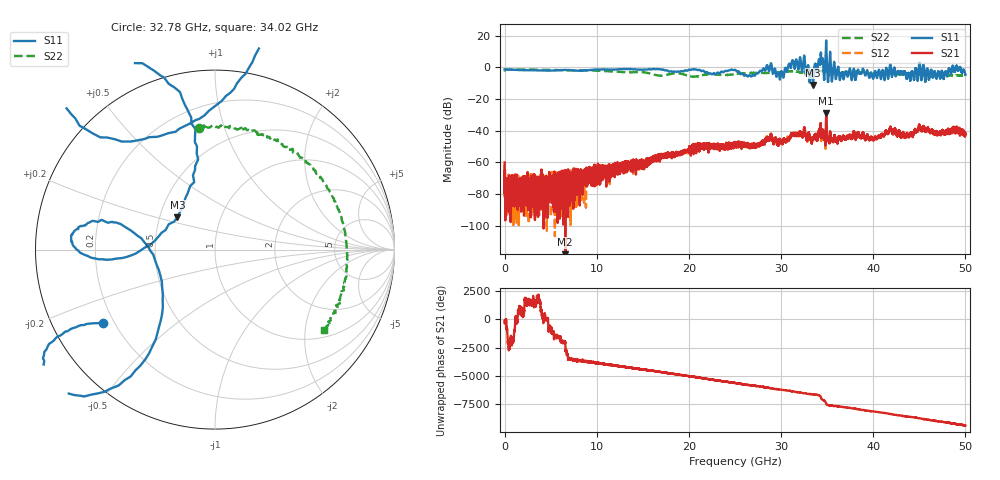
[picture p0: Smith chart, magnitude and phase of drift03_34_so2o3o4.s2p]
!Created with skrf (http://scikit-rf.org).
# Hz S RI R 50.0
!freq ReS11 ImS11 ReS21 ImS21 ReS12 ImS12 ReS22 ImS22
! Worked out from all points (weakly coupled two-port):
!   10001 points, 300 kHz to 50 GHz, reference 50 ohm
!   highest |S21| = -29.16 dB at 34.89 GHz (marker M1); lowest = -122.5 dB at 6.585 GHz (marker M2)
!   lowest |S11| = -11.2 dB at 33.47 GHz (marker M3), VSWR 1.76, Z = 30.9 + j12 ohm
!   |S11| at or under -10 dB: 33.44808 GHz to 33.48516 GHz (37.08 MHz wide, 0.111 % of centre)
!   |S22| runs from -5.9 to -1.3 dB; largest |S21 - S12| = 0.0097
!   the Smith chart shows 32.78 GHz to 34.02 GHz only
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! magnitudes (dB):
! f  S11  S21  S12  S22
! 300 kHz  -1.3  -60.0  -61.4  -2.0
! 255.3 MHz  -1.3  -76.1  -74.4  -1.4
! 485.3 MHz  -1.4  -77.0  -72.5  -1.5
! 6.585 GHz  -1.6  -122.5  -67.5  -1.9
! 8.335 GHz  -2.2  -68.1  -68.1  -1.9
! 16.67 GHz  -1.1  -56.7  -57.0  -5.2
! 25 GHz  -1.5  -48.4  -48.3  -4.3
! 26.92 GHz  -4.9  -49.4  -48.6  -3.6
! 28.73 GHz  -2.2  -45.1  -45.1  -3.5
! 30.06 GHz  -2.5  -48.2  -47.2  -2.9
! 31.87 GHz  -1.5  -42.6  -41.9  -2.9
! 33.34 GHz  -2.2  -47.8  -47.5  -2.9
! 33.47 GHz  -11.2  -44.6  -44.6  -2.8
! 34.3 GHz  7.5  -35.9  -35.4  -2.3
! 34.89 GHz  16.9  -29.2  -32.0  -2.3
! 36.58 GHz  -3.3  -46.1  -46.1  -3.5
! 40.16 GHz  -2.8  -44.5  -44.2  -3.7
! 41.67 GHz  -5.5  -41.3  -40.4  -3.7
! 43.84 GHz  -3.9  -43.2  -43.5  -3.9
! 45.21 GHz  -6.9  -39.5  -39.3  -4.5
! 49.21 GHz  -1.9  -39.9  -39.7  -5.2
! 50 GHz  -4.7  -42.3  -41.9  -5.0
